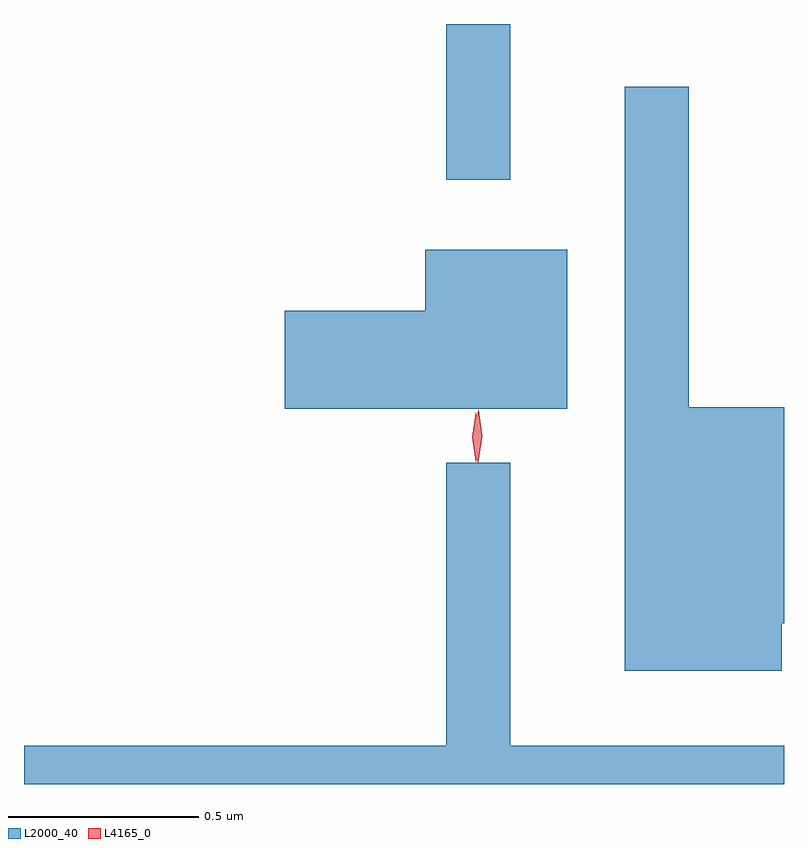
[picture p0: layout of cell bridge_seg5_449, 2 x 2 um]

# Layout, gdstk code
import gdstk
lib = gdstk.Library(unit=1e-6, precision=1e-09)
def R(c, l, rs):  # rectangles x0, y0, x1, y1
    for r in rs: c.add(gdstk.rectangle(r[:2], r[2:], *l))
def P(c, l, *ps):  # polygons
    for p in ps: c.add(gdstk.Polygon(p, *l))
L2000_40 = (2000, 40)
L4165_0 = (4165, 0)

bridge_seg5_449 = lib.new_cell('bridge_seg5_449')
R(bridge_seg5_449, L2000_40, [(206.101,1516.273,206.269,1516.683)])
P(bridge_seg5_449, L2000_40, [(206.984,1515.106),(206.99,1515.106),(206.99,1515.674),(206.739,1515.674),(206.739,1516.518),(206.571,1516.518),(206.571,1514.981),(206.984,1514.981)],
  [(206.419,1516.089),(206.046,1516.089),(206.046,1515.929),(205.676,1515.929),(205.676,1515.671),(206.419,1515.671)],
  [(206.99,1514.784),(206.269,1514.784),(206.269,1515.528),(206.101,1515.528),(206.101,1514.784),(204.99,1514.784),(204.99,1514.683),(206.99,1514.683)])
P(bridge_seg5_449, L4165_0, [(206.179,1515.533),(206.17,1515.596),(206.179,1515.659),(206.179,1515.66),(206.18,1515.659),(206.19,1515.596),(206.18,1515.533),(206.18,1515.533)],
  [(206.184,1515.53),(206.176,1515.598),(206.186,1515.666),(206.187,1515.666),(206.187,1515.666),(206.196,1515.598),(206.185,1515.53),(206.185,1515.53)])

lib.write_gds('bridge_seg5_449.gds')
